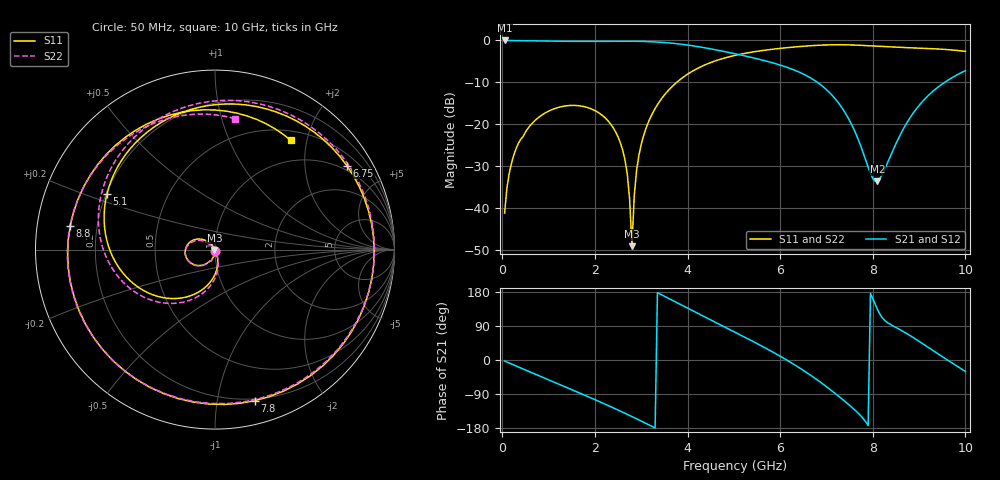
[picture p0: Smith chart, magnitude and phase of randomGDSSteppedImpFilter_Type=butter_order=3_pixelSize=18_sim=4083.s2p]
! freq	dB(S11)	phase(S11)	dB(S12)	phase(S12)
!  dB(S21)	phase(S21)	dB(S22)	phase(S22)
!S-par simulation data
#  GHz  S  DB  R 50
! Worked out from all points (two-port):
!   200 points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, 50 MHz to 10 GHz, reference 50 ohm
!   highest |S21| = 0.00 dB at 50 MHz (marker M1); lowest = -33.7 dB at 8.1 GHz (marker M2)
!   |S21| within 3 dB of the highest: start of sweep to 4.95 GHz
!   lowest |S11| = -49.2 dB at 2.8 GHz (marker M3), VSWR 1.01, Z = 49.7 - j0.179 ohm
!   |S11| at or under -10 dB: start of sweep to 3.768 GHz
!   |S22| runs from -46.1 to -1.0 dB; largest |S21 - S12| = 0
!   S11 on the Smith chart (normalised r, x): 50 MHz: 1.00, -0.02; 5.1 GHz: 0.20, +0.23; 6.75 GHz: 0.83, +3.24; 7.8 GHz: 0.18, -1.28; 8.8 GHz: 0.10, +0.08; 10 GHz: 0.64, +1.73
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0.05  -41.27 -92.3  -0.00 -2.7  -0.00 -2.7  -41.27 -92.2
0.2  -29.27 -100.4  -0.02 -10.6  -0.02 -10.6  -29.27 -100.1
0.55  -21.07 -120.2  -0.07 -29.0  -0.07 -29.0  -21.07 -119.4
1.75  -15.78 176.4  -0.22 -91.4  -0.22 -91.4  -15.79 179.4
2.55  -24.48 132.3  -0.18 -134.9  -0.18 -134.9  -24.51 139.0
2.7  -32.02 123.7  -0.18 -143.5  -0.18 -143.5  -32.03 135.4
2.8  -49.18 -148.7  -0.19 -149.3  -0.19 -149.3  -46.06 -140.7
2.95  -27.45 -71.5  -0.21 -158.1  -0.21 -158.1  -27.34 -71.8
3.4  -14.53 -99.2  -0.42 174.5  -0.42 174.5  -14.50 -94.8
4.25  -6.49 -153.3  -1.52 121.3  -1.52 121.3  -6.48 -145.9
5.05  -3.51 156.0  -3.24 71.8  -3.24 71.8  -3.50 166.4
5.1  -3.39 152.8  -3.36 68.7  -3.36 68.7  -3.38 163.4
6  -1.90 92.4  -5.89 10.1  -5.89 10.1  -1.89 106.5
6.7  -1.23 36.9  -9.25 -43.8  -9.25 -43.8  -1.23 52.5
6.75  -1.20 32.5  -9.60 -48.1  -9.60 -48.1  -1.19 48.1
7.3  -1.02 -20.7  -15.55 -99.2  -15.55 -99.2  -1.02 -5.8
7.8  -1.21 -75.3  -27.06 -155.6  -27.06 -155.6  -1.19 -61.9
8.1  -1.39 -109.7  -33.66 133.7  -33.66 133.7  -1.36 -96.6
8.35  -1.54 -138.5  -28.43 96.0  -28.43 96.0  -1.48 -124.9
8.8  -1.75 170.6  -18.56 64.9  -18.56 64.9  -1.67 -172.9
9.4  -2.04 108.7  -11.23 16.9  -11.23 16.9  -2.00 130.7
10  -2.61 55.2  -7.22 -30.2  -7.22 -30.2  -2.64 81.4
